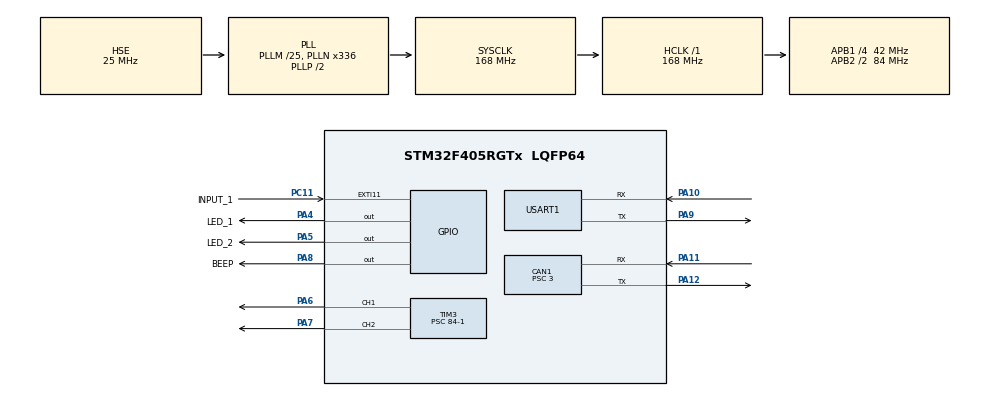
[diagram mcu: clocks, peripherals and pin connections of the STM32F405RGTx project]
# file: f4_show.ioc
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CAN1.ABOM=DISABLE
CAN1.AWUM=DISABLE
CAN1.BS1=CAN_BS1_9TQ
CAN1.BS2=CAN_BS2_4TQ
CAN1.CalculateBaudRate=1000000
CAN1.CalculateTimeBit=1000
CAN1.CalculateTimeQuantum=71.42857142857143
CAN1.NART=DISABLE
CAN1.Prescaler=3
CAN1.SJW=CAN_SJW_3TQ
Dma.Request0=USART1_RX
Dma.Request1=USART1_TX
Dma.USART1_RX.0.Direction=DMA_PERIPH_TO_MEMORY
Dma.USART1_RX.0.FIFOMode=DMA_FIFOMODE_DISABLE
Dma.USART1_RX.0.Instance=DMA2_Stream2
Dma.USART1_RX.0.MemDataAlignment=DMA_MDATAALIGN_BYTE
Dma.USART1_RX.0.MemInc=DMA_MINC_ENABLE
Dma.USART1_RX.0.Mode=DMA_NORMAL
Dma.USART1_RX.0.PeriphDataAlignment=DMA_PDATAALIGN_BYTE
Dma.USART1_RX.0.PeriphInc=DMA_PINC_DISABLE
Dma.USART1_RX.0.Priority=DMA_PRIORITY_LOW
Dma.USART1_TX.1.Direction=DMA_MEMORY_TO_PERIPH
Dma.USART1_TX.1.FIFOMode=DMA_FIFOMODE_DISABLE
Dma.USART1_TX.1.Instance=DMA2_Stream7
Dma.USART1_TX.1.MemDataAlignment=DMA_MDATAALIGN_BYTE
Dma.USART1_TX.1.MemInc=DMA_MINC_ENABLE
Dma.USART1_TX.1.Mode=DMA_NORMAL
Dma.USART1_TX.1.PeriphDataAlignment=DMA_PDATAALIGN_BYTE
Dma.USART1_TX.1.PeriphInc=DMA_PINC_DISABLE
Dma.USART1_TX.1.Priority=DMA_PRIORITY_LOW
FREERTOS.Tasks01=LED_Task,24,128,Led_Task,As weak,NULL,Dynamic,NULL,NULL;Buzzer_Task,8,128,Beef_Task,Default,NULL,Dynamic,NULL,NULL;SEND_DATA,8,128,Send_Data,Default,NULL,Dynamic,NULL,NULL;NOISE_TASK,8,128,Noise_Task,Default,NULL,Dynamic,NULL,NULL
Mcu.Family=STM32F4
Mcu.Name=STM32F405RGTx
Mcu.Package=LQFP64
NVIC.CAN1_RX0_IRQn=true\:5\:0\:true\:false\:true\:true\:true\:true\:true
NVIC.CAN1_RX1_IRQn=true\:5\:0\:true\:false\:true\:true\:true\:true\:true
NVIC.DMA2_Stream2_IRQn=true\:5\:0\:false\:false\:true\:true\:false\:true\:true
NVIC.DMA2_Stream7_IRQn=true\:5\:0\:false\:false\:true\:true\:false\:true\:true
NVIC.EXTI15_10_IRQn=true\:5\:0\:true\:false\:true\:true\:true\:true\:true
NVIC.PriorityGroup=NVIC_PRIORITYGROUP_4
NVIC.TIM1_UP_TIM10_IRQn=true\:15\:0\:false\:false\:true\:false\:false\:true\:true
NVIC.TIM2_IRQn=true\:5\:0\:true\:false\:true\:true\:true\:true\:true
NVIC.TimeBase=TIM1_UP_TIM10_IRQn
NVIC.TimeBaseIP=TIM1
NVIC.USART1_IRQn=true\:5\:0\:true\:false\:true\:true\:true\:true\:true
PA10.GPIO_ModeDefaultPP=GPIO_MODE_AF_PP
PA10.GPIO_PuPd=GPIO_PULLUP
PA10.Mode=Asynchronous
PA10.Signal=USART1_RX
PA11.Mode=CAN_Activate
PA11.Signal=CAN1_RX
PA12.Mode=CAN_Activate
PA12.Signal=CAN1_TX
PA4.GPIO_Label=LED_1
PA4.GPIO_ModeDefaultOutputPP=GPIO_MODE_OUTPUT_PP
PA4.GPIO_PuPd=GPIO_PULLDOWN
PA4.Signal=GPIO_Output
PA5.GPIO_Label=LED_2
PA5.GPIO_ModeDefaultOutputPP=GPIO_MODE_OUTPUT_PP
PA5.GPIO_PuPd=GPIO_PULLDOWN
PA5.Signal=GPIO_Output
PA6.Signal=S_TIM3_CH1
PA7.Signal=S_TIM3_CH2
PA8.GPIO_Label=BEEP
PA8.GPIO_PuPd=GPIO_PULLDOWN
PA8.Signal=GPIO_Output
PA9.GPIO_ModeDefaultPP=GPIO_MODE_AF_PP
PA9.GPIO_PuPd=GPIO_NOPULL
PA9.Mode=Asynchronous
PA9.Signal=USART1_TX
PC11.GPIO_Label=INPUT_1
PC11.GPIO_ModeDefaultEXTI=GPIO_MODE_IT_RISING
PC11.GPIO_PuPd=GPIO_PULLDOWN
PC11.Signal=GPXTI11
PH0-OSC_IN.Mode=HSE-External-Oscillator
PH0-OSC_IN.Signal=RCC_OSC_IN
PH1-OSC_OUT.Mode=HSE-External-Oscillator
PH1-OSC_OUT.Signal=RCC_OSC_OUT
ProjectManager.HeapSize=0x800
ProjectManager.StackSize=0x400
ProjectManager.TargetToolchain=MDK-ARM V5.32
RCC.48MHZClocksFreq_Value=84000000
RCC.AHBFreq_Value=168000000
RCC.APB1CLKDivider=RCC_HCLK_DIV4
RCC.APB1Freq_Value=42000000
RCC.APB1TimFreq_Value=84000000
RCC.APB2CLKDivider=RCC_HCLK_DIV2
RCC.APB2Freq_Value=84000000
RCC.APB2TimFreq_Value=168000000
RCC.CortexFreq_Value=168000000
RCC.HCLKFreq_Value=168000000
RCC.HSE_VALUE=25000000
RCC.HSI_VALUE=16000000
RCC.LSE_VALUE=32768
RCC.PLLM=25
RCC.PLLN=336
RCC.PLLSourceVirtual=RCC_PLLSOURCE_HSE
RCC.SYSCLKFreq_VALUE=168000000
RCC.SYSCLKSource=RCC_SYSCLKSOURCE_PLLCLK
RCC.VCOOutputFreq_Value=336000000
SH.S_TIM3_CH1.0=TIM3_CH1,PWM Generation1 CH1
SH.S_TIM3_CH2.0=TIM3_CH2,PWM Generation2 CH2
TIM2.Period=10000-1
TIM2.Prescaler=84-1
TIM3.AutoReloadPreload=TIM_AUTORELOAD_PRELOAD_ENABLE
TIM3.Channel-PWM\ Generation1\ CH1=TIM_CHANNEL_1
TIM3.Channel-PWM\ Generation2\ CH2=TIM_CHANNEL_2
TIM3.OCFastMode_PWM-PWM\ Generation1\ CH1=TIM_OCFAST_DISABLE
TIM3.Period=1000-1
TIM3.Prescaler=84-1
USART1.OverSampling=UART_OVERSAMPLING_16
USART1.VirtualMode=VM_ASYNC
VP_FREERTOS_VS_CMSIS_V2.Mode=CMSIS_V2
VP_SYS_VS_tim1.Mode=TIM1
VP_TIM2_VS_ClockSourceINT.Mode=Internal
board=custom

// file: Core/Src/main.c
/* USER CODE BEGIN Header */
/**
 ******************************************************************************
 * @file           : main.c
 * @brief          : Main program body
 ******************************************************************************
 * @attention
 *
 * Copyright (c) 2026 STMicroelectronics.
 * All rights reserved.
 *
 * This software is licensed under terms that can be found in the LICENSE file
 * in the root directory of this software component.
 * If no LICENSE file comes with this software, it is provided AS-IS.
 *
 ******************************************************************************
 */
/* USER CODE END Header */
#include "main.h"
#include "cmsis_os.h"
#include "can.h"
#include "dma.h"
#include "tim.h"
#include "usart.h"
#include "gpio.h"

/* USER CODE BEGIN Includes */
#include "led.h"
#include "Beep.h"
#include "key.h"
#include "TIM_IRQHandler.h"
#include "led_breath.h"
#include "EXTI_IRQHandler.h"
#include "stdint.h"
#include "UART_IRQHandler.h"
#include "CAN_IRQHandler.h"
#include "myostask.h"
/* USER CODE END Includes */

void SystemClock_Config(void);
void MX_FREERTOS_Init(void);

int main(void)
{

  /* USER CODE BEGIN 1 */
  static float s_phase = 0;
  /* USER CODE END 1 */

  /* MCU Configuration--------------------------------------------------------*/

  /* Reset of all peripherals, Initializes the Flash interface and the Systick. */
  HAL_Init();

  /* Configure the system clock */
  SystemClock_Config();

  /* Initialize all configured peripherals */
  MX_GPIO_Init();
  MX_DMA_Init();
  MX_TIM2_Init();
  MX_TIM3_Init();
  MX_USART1_UART_Init();
  MX_CAN1_Init();
  /* USER CODE BEGIN 2 */
  BEEP_INIT();
  BREATH_Init();
  UART_Start_Receive();

  /* USER CODE END 2 */

  /* Init scheduler */
  osKernelInitialize();

  /* Call init function for freertos objects (in cmsis_os2.c) */
  MX_FREERTOS_Init();

  /* Start scheduler */
  osKernelStart();

  /* We should never get here as control is now taken by the scheduler */

  /* Infinite loop */
  while (1)
  {

    /* USER CODE BEGIN 3 */
    // while (1)
    // {
    //     Key_WaitPress();

    //     if (Key_GetDuration() >= KEY_LONG_MS)
    //     {
    //         BEEP_ALARM(3);
    //         BREATH_Init();               /* 熄灭呼吸�??????? */
    //         while (1)
    //         {
    //             if (Key_PressPending) break;  /* AI帮忙加了保险 */
    //             LED_WATER();
    //         }
    //     }
    //     else
    //     {
    //         BEEP_ALARM(1);
    //         LED_OFF(1);                  /* 熄灭流水�??????? */
    //         LED_OFF(2);
    //         BREATH_Init();
    //         while (1)
    //         {
    //             if (Key_PressPending) break;   /* AI帮忙加了保险 */
    //             BREATH_Step();
    //         }
    //     }

    // }
    /*----------------------------------------vofa正弦�???----------------------------------*/
    // float sinf_result = sinf(s_phase);
    // s_phase += 0.1f;
    // uint8_t tail[8]={0x00,0x00,0x00,0x00,0x00,0x00,0x80,0x7F};
    // memcpy(tail,&sinf_result,4); //memcpy(tail, &sinf_result, 8) 我想实现的是把sinf_result4个字节拷贝到tail数组的前4个字节中，后4个字节保持不�????
    // HAL_UART_Transmit(&huart1, tail, 8, 100);  //教程只介绍了传入库函数，传出函数AI给的
    // HAL_Delay(20);

    /*-------------------------------------忘记是什么功能了-----------------------------*/
    //   while(Beef_count==0);
    //   LED_TOGGLE(1);
    //  BEEP_ALARM(Beef_count);
    //   Beef_count=0;
    /*----------------------------------------8.13can作业--------------------------------*/
    // if(Beef_count)
    // {
    //   BEEP_ALARM(Beef_count);
    //   Beef_count = 0;
    //   SendOK_1();
    // }
    // if(State)
    // {
    //   State=0;
    //   if(Led_state)
    //   {
    //   SendOK_2();
    //   while(Led_state)
    //   {
    //     LED_WATER();
    //   }
    //   }
    // else
    // {
    //   SendOK_2();
    // }
    // }
  }

  /* USER CODE END 3 */
}

void SystemClock_Config(void)
{
  RCC_OscInitTypeDef RCC_OscInitStruct = {0};
  RCC_ClkInitTypeDef RCC_ClkInitStruct = {0};

  /** Configure the main internal regulator output voltage
  */
  __HAL_RCC_PWR_CLK_ENABLE();
  __HAL_PWR_VOLTAGESCALING_CONFIG(PWR_REGULATOR_VOLTAGE_SCALE1);

  /** Initializes the RCC Oscillators according to the specified parameters
  * in the RCC_OscInitTypeDef structure.
  */
  RCC_OscInitStruct.OscillatorType = RCC_OSCILLATORTYPE_HSE;
  RCC_OscInitStruct.HSEState = RCC_HSE_ON;
  RCC_OscInitStruct.PLL.PLLState = RCC_PLL_ON;
  RCC_OscInitStruct.PLL.PLLSource = RCC_PLLSOURCE_HSE;
  RCC_OscInitStruct.PLL.PLLM = 25;
  RCC_OscInitStruct.PLL.PLLN = 336;
  RCC_OscInitStruct.PLL.PLLP = RCC_PLLP_DIV2;
  RCC_OscInitStruct.PLL.PLLQ = 4;
  if (HAL_RCC_OscConfig(&RCC_OscInitStruct) != HAL_OK)
  {
    Error_Handler();
  }

  /** Initializes the CPU, AHB and APB buses clocks
  */
  RCC_ClkInitStruct.ClockType = RCC_CLOCKTYPE_HCLK|RCC_CLOCKTYPE_SYSCLK
                              |RCC_CLOCKTYPE_PCLK1|RCC_CLOCKTYPE_PCLK2;
  RCC_ClkInitStruct.SYSCLKSource = RCC_SYSCLKSOURCE_PLLCLK;
  RCC_ClkInitStruct.AHBCLKDivider = RCC_SYSCLK_DIV1;
  RCC_ClkInitStruct.APB1CLKDivider = RCC_HCLK_DIV4;
  RCC_ClkInitStruct.APB2CLKDivider = RCC_HCLK_DIV2;

  if (HAL_RCC_ClockConfig(&RCC_ClkInitStruct, FLASH_LATENCY_5) != HAL_OK)
  {
    Error_Handler();
  }
}

void HAL_TIM_PeriodElapsedCallback(TIM_HandleTypeDef *htim)
{
  if (htim->Instance == TIM1) {
    HAL_IncTick();
  }
  /* USER CODE BEGIN Callback 1 */
  TIM_PeriodElapsedCallback(htim);
  /* USER CODE END Callback 1 */
}

void Error_Handler(void)
{
  __disable_irq();
  while (1)
  {
  }
}

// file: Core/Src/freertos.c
/* USER CODE BEGIN Header */
/**
  ******************************************************************************
  * File Name          : freertos.c
  * Description        : Code for freertos applications
  ******************************************************************************
  * @attention
  *
  * Copyright (c) 2026 STMicroelectronics.
  * All rights reserved.
  *
  * This software is licensed under terms that can be found in the LICENSE file
  * in the root directory of this software component.
  * If no LICENSE file comes with this software, it is provided AS-IS.
  *
  ******************************************************************************
  */
/* USER CODE END Header */

#include "FreeRTOS.h"
#include "task.h"
#include "main.h"
#include "cmsis_os.h"

/* Definitions for LED_Task */
osThreadId_t LED_TaskHandle;
const osThreadAttr_t LED_Task_attributes = {
  .name = "LED_Task",
  .stack_size = 128 * 4,
  .priority = (osPriority_t) osPriorityNormal,
};
/* Definitions for Buzzer_Task */
osThreadId_t Buzzer_TaskHandle;
const osThreadAttr_t Buzzer_Task_attributes = {
  .name = "Buzzer_Task",
  .stack_size = 128 * 4,
  .priority = (osPriority_t) osPriorityLow,
};
/* Definitions for SEND_DATA */
osThreadId_t SEND_DATAHandle;
const osThreadAttr_t SEND_DATA_attributes = {
  .name = "SEND_DATA",
  .stack_size = 128 * 4,
  .priority = (osPriority_t) osPriorityLow,
};
/* Definitions for NOISE_TASK */
osThreadId_t NOISE_TASKHandle;
const osThreadAttr_t NOISE_TASK_attributes = {
  .name = "NOISE_TASK",
  .stack_size = 128 * 4,
  .priority = (osPriority_t) osPriorityLow,
};

void Led_Task(void *argument);
void Beef_Task(void *argument);
void Send_Data(void *argument);
void Noise_Task(void *argument);

void MX_FREERTOS_Init(void); /* (MISRA C 2004 rule 8.1) */

void MX_FREERTOS_Init(void) {

  /* Create the thread(s) */
  /* creation of LED_Task */
  LED_TaskHandle = osThreadNew(Led_Task, NULL, &LED_Task_attributes);

  /* creation of Buzzer_Task */
  Buzzer_TaskHandle = osThreadNew(Beef_Task, NULL, &Buzzer_Task_attributes);

  /* creation of SEND_DATA */
  SEND_DATAHandle = osThreadNew(Send_Data, NULL, &SEND_DATA_attributes);

  /* creation of NOISE_TASK */
  NOISE_TASKHandle = osThreadNew(Noise_Task, NULL, &NOISE_TASK_attributes);

}

__weak void Led_Task(void *argument)
{
  for(;;)
  {
    osDelay(1);
  }
}

__weak void Beef_Task(void *argument)
{
  for(;;)
  {
    osDelay(1);
  }
}

__weak void Send_Data(void *argument)
{
  for(;;)
  {
    osDelay(1);
  }
}

__weak void Noise_Task(void *argument)
{
  for(;;)
  {
    osDelay(1);
  }
}
